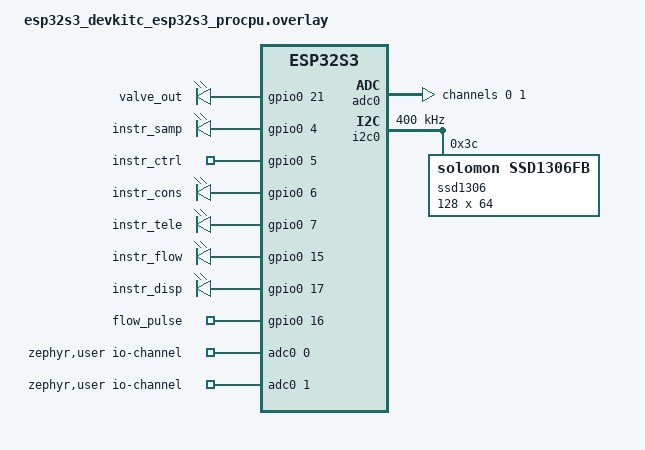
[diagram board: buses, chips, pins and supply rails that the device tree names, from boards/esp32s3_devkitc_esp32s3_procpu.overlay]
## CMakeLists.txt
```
cmake_minimum_required(VERSION 3.20.0)
find_package(Zephyr REQUIRED HINTS $ENV{ZEPHYR_BASE})
project(soilsense_superloop)

target_sources(app PRIVATE src/main.c)
target_sources_ifdef(CONFIG_LAB_FLASH_CACHE_OFF app PRIVATE src/cache_stm32_art.c)
```

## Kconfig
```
config LAB_FLASH_CACHE_OFF
	bool "Run with the STM32L4/G4 ART instruction/data cache disabled"
	depends on SOC_SERIES_STM32L4X || SOC_SERIES_STM32G4X
	help
	  Week 2's second measurement: identical binary, cache off, so the jitter
	  difference is attributable to the flash accelerator alone. Pair it with
	  CONFIG_STM32_FLASH_PREFETCH=n to drop the prefetch buffer too.

source "Kconfig.zephyr"
```

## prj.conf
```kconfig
CONFIG_GPIO=y
CONFIG_ADC=y
CONFIG_SERIAL=y
CONFIG_CONSOLE=y
CONFIG_UART_CONSOLE=y
CONFIG_MAIN_STACK_SIZE=1536
CONFIG_IDLE_STACK_SIZE=256
CONFIG_ISR_STACK_SIZE=512
CONFIG_SYSTEM_WORKQUEUE_STACK_SIZE=512
```

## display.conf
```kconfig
# Opt-in HMI: west build ... -- -DEXTRA_CONF_FILE=display.conf
CONFIG_I2C=y
CONFIG_DISPLAY=y
CONFIG_CHARACTER_FRAMEBUFFER=y
```

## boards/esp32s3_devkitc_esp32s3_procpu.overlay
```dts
/*
 * ESP32-S3 DevKitC pin map (week-3 port) — DRAFT, validate before class.
 * Only hardware description changes; the C does not.
 * No joystick on this board: tie the joystick channel's pin (GPIO1) to 3.3 V
 * (reads JOY_NONE) or wire a second pot. "Pressure" pot goes to GPIO2.
 */

#include <zephyr/dt-bindings/gpio/gpio.h>
#include <zephyr/dt-bindings/adc/adc.h>
#include <zephyr/dt-bindings/i2c/i2c.h>

/ {
	aliases {
		led0 = &valve_out;
	};

	leds {
		compatible = "gpio-leds";
		valve_out: valve_out { gpios = <&gpio0 21 GPIO_ACTIVE_HIGH>; };
	};

	instr {
		compatible = "gpio-leds";
		instr_samp: instr_samp { gpios = <&gpio0 4 GPIO_ACTIVE_HIGH>; };
		instr_ctrl: instr_ctrl { gpios = <&gpio0 5 GPIO_ACTIVE_HIGH>; };
		instr_cons: instr_cons { gpios = <&gpio0 6 GPIO_ACTIVE_HIGH>; };
		instr_tele: instr_tele { gpios = <&gpio0 7 GPIO_ACTIVE_HIGH>; };
		instr_flow: instr_flow { gpios = <&gpio0 15 GPIO_ACTIVE_HIGH>; };
		instr_disp: instr_disp { gpios = <&gpio0 17 GPIO_ACTIVE_HIGH>; };
	};

	keys {
		compatible = "gpio-keys";
		flow_pulse: flow_pulse {
			gpios = <&gpio0 16 (GPIO_ACTIVE_HIGH | GPIO_PULL_DOWN)>;
		};
	};

	zephyr,user {
		/* idx 0 = joystick (GPIO1 / ADC1_CH0), idx 1 = pot (GPIO2 / ADC1_CH1) */
		io-channels = <&adc0 0>, <&adc0 1>;
	};
};

&adc0 {
	status = "okay";
	#address-cells = <1>;
	#size-cells = <0>;

	channel@0 {
		reg = <0>;
		zephyr,gain = "ADC_GAIN_1_4";
		zephyr,reference = "ADC_REF_INTERNAL";
		zephyr,acquisition-time = <ADC_ACQ_TIME_DEFAULT>;
		zephyr,resolution = <12>;
	};
	channel@1 {
		reg = <1>;
		zephyr,gain = "ADC_GAIN_1_4";
		zephyr,reference = "ADC_REF_INTERNAL";
		zephyr,acquisition-time = <ADC_ACQ_TIME_DEFAULT>;
		zephyr,resolution = <12>;
	};
};

/* Optional SSD1306 HMI (build with -DEXTRA_CONF_FILE=display.conf).
 * Default I2C pins on the DevKitC: SDA GPIO8, SCL GPIO9. */
&i2c0 {
	status = "okay";
	clock-frequency = <I2C_BITRATE_FAST>;

	ssd1306: ssd1306@3c {
		compatible = "solomon,ssd1306fb";
		reg = <0x3c>;
		width = <128>;
		height = <64>;
		segment-offset = <0>;
		page-offset = <0>;
		display-offset = <0>;
		multiplex-ratio = <63>;
		prechargep = <0x22>;
		segment-remap;
		com-invdir;
	};
};
```

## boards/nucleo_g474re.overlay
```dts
/*
 * NUCLEO-G474RE pin map for the SoilSense superloop.
 *
 * Instrumentation uses Arduino D3-D8.
 * Flow pulse input uses Arduino D9.
 * The valve uses LD2 through the existing led0 alias.
 */

#include <zephyr/dt-bindings/gpio/gpio.h>

/ {
	instr {
		compatible = "gpio-leds";

		instr_samp: instr_samp {
			gpios = <&gpiob 3 GPIO_ACTIVE_HIGH>;  /* D3 */
		};

		instr_ctrl: instr_ctrl {
			gpios = <&gpiob 5 GPIO_ACTIVE_HIGH>;  /* D4 */
		};

		instr_cons: instr_cons {
			gpios = <&gpiob 4 GPIO_ACTIVE_HIGH>;  /* D5 */
		};

		instr_tele: instr_tele {
			gpios = <&gpiob 10 GPIO_ACTIVE_HIGH>; /* D6 */
		};

		instr_flow: instr_flow {
			gpios = <&gpioa 8 GPIO_ACTIVE_HIGH>;  /* D7 */
		};

		instr_disp: instr_disp {
			gpios = <&gpioa 9 GPIO_ACTIVE_HIGH>;  /* D8 */
		};
	};

	keys {
		compatible = "gpio-keys";

		flow_pulse: flow_pulse {
			gpios = <&gpioc 7
				 (GPIO_ACTIVE_HIGH | GPIO_PULL_DOWN)>; /* D9 */
		};
	};
};

&pwm2 {
	status = "disabled";
};

&pwm3 {
	status = "disabled";
};
```

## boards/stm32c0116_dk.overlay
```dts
/*
 * STM32C0116-DK pin map — DRAFT, validate against the DIL20 silk before class.
 * Console stays on the ST-LINK VCP (USART2, PA2/PA3) — do not reuse those pins.
 */

#include <zephyr/dt-bindings/gpio/gpio.h>
#include <zephyr/dt-bindings/adc/adc.h>
#include <zephyr/dt-bindings/i2c/i2c.h>

/ {
	instr {
		compatible = "gpio-leds";
		instr_samp: instr_samp { gpios = <&gpioa 1 GPIO_ACTIVE_HIGH>; };
		instr_ctrl: instr_ctrl { gpios = <&gpioa 4 GPIO_ACTIVE_HIGH>; };
		instr_cons: instr_cons { gpios = <&gpioa 5 GPIO_ACTIVE_HIGH>; };
		instr_tele: instr_tele { gpios = <&gpioa 6 GPIO_ACTIVE_HIGH>; };
		instr_flow: instr_flow { gpios = <&gpioa 7 GPIO_ACTIVE_HIGH>; };
		instr_disp: instr_disp { gpios = <&gpioc 14 GPIO_ACTIVE_HIGH>; };
	};

	keys {
		compatible = "gpio-keys";
		flow_pulse: flow_pulse {
			gpios = <&gpiob 7 (GPIO_ACTIVE_HIGH | GPIO_PULL_DOWN)>;
		};
	};

	zephyr,user {
		/* idx 0 = joystick ladder (PA8), idx 1 = "pressure" pot (PA0) */
		io-channels = <&adc1 8>, <&adc1 0>;
	};
};

&adc1 {
	status = "okay";
	pinctrl-0 = <&adc1_in8_pa8 &adc1_in0_pa0>;
	pinctrl-names = "default";
	vref-mv = <3300>;
	#address-cells = <1>;
	#size-cells = <0>;

	channel@8 {
		reg = <8>;
		zephyr,gain = "ADC_GAIN_1";
		zephyr,reference = "ADC_REF_INTERNAL";
		zephyr,acquisition-time = <ADC_ACQ_TIME_DEFAULT>;
		zephyr,resolution = <12>;
	};
	channel@0 {
		reg = <0>;
		zephyr,gain = "ADC_GAIN_1";
		zephyr,reference = "ADC_REF_INTERNAL";
		zephyr,acquisition-time = <ADC_ACQ_TIME_DEFAULT>;
		zephyr,resolution = <12>;
	};
};

/* Optional SSD1306 HMI (build with -DEXTRA_CONF_FILE=display.conf).
 * PA9/PA10 assumed for I2C1 — if only PB6/PB7 route out on this package,
 * the valve LED and flow_pulse must move. Validate on the DK. */
&i2c1 {
	status = "okay";
	pinctrl-0 = <&i2c1_scl_pa9 &i2c1_sda_pa10>;
	pinctrl-names = "default";
	clock-frequency = <I2C_BITRATE_FAST>;

	ssd1306: ssd1306@3c {
		compatible = "solomon,ssd1306fb";
		reg = <0x3c>;
		width = <128>;
		height = <64>;
		segment-offset = <0>;
		page-offset = <0>;
		display-offset = <0>;
		multiplex-ratio = <63>;
		prechargep = <0x22>;
		segment-remap;
		com-invdir;
	};
};
```

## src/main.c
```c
/*
 * SoilSense Control — the provided superloop.
 * One main loop + ISRs. No scheduler. You run, read, and measure this in week 2.
 *
 * The node's tasks (PROJECT_SCENARIO.md):
 *   sampling  (hard, 1 kHz)  — pressure ADC, e-stop check, valve PWM phase
 *   control   (hard, 10 ms)  — PI loop -> valve duty
 *   console   (firm)         — UART commands (help/status/joy/set/clear/calib)
 *   telemetry (soft, 1 Hz)   — CSV line over the console UART
 *   flow ISR  (hard)         — pulse counting on the flow input pin
 *
 * Every task raises its instrumentation GPIO on entry and drops it on exit:
 * the logic analyzer sees exactly who ran and for how long.
 */

#include <zephyr/kernel.h>
#include <zephyr/device.h>
#include <zephyr/drivers/gpio.h>
#include <zephyr/drivers/adc.h>
#include <zephyr/drivers/uart.h>
#include <zephyr/sys/atomic.h>
#include <zephyr/sys/util.h>
#include <zephyr/sys/printk.h>
#ifdef CONFIG_CHARACTER_FRAMEBUFFER
#include <zephyr/drivers/display.h>
#include <zephyr/display/cfb.h>
#endif
#include <stdio.h>
#include <stdlib.h>
#include <string.h>

#define SAMPLE_PERIOD_US 1000  /* sampling: 1 kHz */
#define CONTROL_EVERY    10    /* control runs every 10th sample -> 10 ms */
#define TELEMETRY_MS     1000
#define PWM_STEPS        20    /* software PWM on the valve LED: 1 kHz / 20 = 50 Hz */
#define FLOW_BATCH       100   /* pulses accumulated before the batch math runs */
#define ESTOP_MV         3000  /* overpressure threshold */
#define CALIB_ROUNDS     1000  /* `calib` command: rounds of read + settle */
#define DISPLAY_MS       500   /* HMI refresh period */
#define ESTOP_HOLD       50    /* joystick-down samples (at 50 Hz) = 1 s hold */

/* ---- Hardware (all optional: missing DT nodes degrade to a synthetic rig) -- */

#define INSTR(node) GPIO_DT_SPEC_GET_OR(DT_NODELABEL(node), gpios, {0})
static const struct gpio_dt_spec instr_samp = INSTR(instr_samp);
static const struct gpio_dt_spec instr_ctrl = INSTR(instr_ctrl);
static const struct gpio_dt_spec instr_cons = INSTR(instr_cons);
static const struct gpio_dt_spec instr_tele = INSTR(instr_tele);
static const struct gpio_dt_spec instr_flow = INSTR(instr_flow);
static const struct gpio_dt_spec instr_disp = INSTR(instr_disp);
static const struct gpio_dt_spec valve_led =
	GPIO_DT_SPEC_GET_OR(DT_ALIAS(led0), gpios, {0});
static const struct gpio_dt_spec flow_pulse =
	GPIO_DT_SPEC_GET_OR(DT_NODELABEL(flow_pulse), gpios, {0});

#if DT_NODE_EXISTS(DT_PATH(zephyr_user)) && \
	DT_NODE_HAS_PROP(DT_PATH(zephyr_user), io_channels)
#define HAS_ADC 1
static const struct adc_dt_spec adc_joy =
	ADC_DT_SPEC_GET_BY_IDX(DT_PATH(zephyr_user), 0);
static const struct adc_dt_spec adc_pressure =
	ADC_DT_SPEC_GET_BY_IDX(DT_PATH(zephyr_user), 1);
#endif

#if DT_HAS_CHOSEN(zephyr_console)
static const struct device *const console_uart =
	DEVICE_DT_GET(DT_CHOSEN(zephyr_console));
#endif

#ifdef CONFIG_CHARACTER_FRAMEBUFFER
static const struct device *const disp = DEVICE_DT_GET_ANY(solomon_ssd1306);
#endif

static inline void instr_set(const struct gpio_dt_spec *p, int v)
{
	if (p->port) {
		gpio_pin_set_dt(p, v);
	}
}

/* ---- ISR side ------------------------------------------------------------- */

/* Sampling tick: the ISR only raises a flag; the loop discovers it whenever it
 * next comes around. If the loop was busy, ticks pile up here. */
static atomic_t ticks_pending;
static atomic_t backlog_peak; /* worst backlog seen — `status` reports it */

static void tick_isr(struct k_timer *t)
{
	atomic_val_t backlog = atomic_inc(&ticks_pending) + 1;

	if (backlog > atomic_get(&backlog_peak)) {
		atomic_set(&backlog_peak, backlog);
	}
}

K_TIMER_DEFINE(tick_timer, tick_isr, NULL);

/* Flow pulses: counted in the ISR, processed in the loop in batches. */
static atomic_t flow_pulses;
static struct gpio_callback flow_cb;

static void flow_isr(const struct device *dev, struct gpio_callback *cb,
		     uint32_t pins)
{
	atomic_inc(&flow_pulses);
}

/* ---- State ---------------------------------------------------------------- */

static int setpoint_mv = 1500;
static int pressure_mv;
static int joystick_mv = -1;
static int duty_pct;          /* valve command, 0-100 */
static int integral_mv;
static bool estop;
static float flow_lpm;        /* batch math result (float on purpose: no FPU) */
static uint32_t flow_batches;

enum page { PAGE_DASH, PAGE_FLOW, PAGE_HEALTH, PAGE_COUNT };
static int page;
static bool page_dirty = true;

/* ---- Inputs: ADC when the board wires it, a synthetic plant when not ------ */

#if HAS_ADC
static int adc_read_mv(const struct adc_dt_spec *spec)
{
	int16_t raw;
	struct adc_sequence seq = { .buffer = &raw, .buffer_size = sizeof(raw) };
	int32_t mv;

	adc_sequence_init_dt(spec, &seq);
	if (adc_read_dt(spec, &seq) < 0) {
		return -1;
	}
	mv = raw;
	adc_raw_to_millivolts_dt(spec, &mv);
	return mv;
}
#endif

/* Without a pot on the pressure channel (or on native_sim) the plant is
 * simulated: pressure drifts toward what the valve commands. */
static int plant_mv(void)
{
	static int mv = 1200;

	mv += (duty_pct * 33 - mv) / 64;
	mv += (int)(k_cycle_get_32() % 7) - 3;
	return mv;
}

static int read_pressure_mv(void)
{
#if HAS_ADC
	int mv = adc_read_mv(&adc_pressure);

	if (mv >= 0) {
		return mv;
	}
#endif
	return plant_mv();
}

static int read_joystick_mv(void)
{
#if HAS_ADC
	return adc_read_mv(&adc_joy);
#else
	return -1;
#endif
}

/* ---- Tasks ---------------------------------------------------------------- */

/* Joystick bands, single-ADC resistor ladder. Calibrate with `joy`. */
enum joy { JOY_NONE, JOY_UP, JOY_DOWN, JOY_LEFT, JOY_RIGHT, JOY_SEL };

static enum joy joy_decode(int mv)
{
	if (mv < 0) return JOY_NONE;
	if (mv < 300) return JOY_SEL;
	if (mv < 900) return JOY_DOWN;
	if (mv < 1600) return JOY_RIGHT;
	if (mv < 2300) return JOY_LEFT;
	if (mv < 3000) return JOY_UP;
	return JOY_NONE;
}

/* Joystick UX, sampled at 50 Hz: left/right turn HMI pages, up/down move the
 * setpoint on the dashboard, down *held* ~1 s is the e-stop, center clears it. */
static void joystick_update(void)
{
	static enum joy prev = JOY_NONE;
	static int down_held;

	joystick_mv = read_joystick_mv();
	enum joy j = joy_decode(joystick_mv);

	if (j == JOY_DOWN) {
		if (++down_held == ESTOP_HOLD) {
			estop = true;
			page_dirty = true;
		}
	} else {
		down_held = 0;
	}

	switch (j) {
	case JOY_UP: /* held = ramp */
		if (page == PAGE_DASH) {
			setpoint_mv = CLAMP(setpoint_mv + 10, 0, 3300);
			page_dirty = true;
		}
		break;
	case JOY_DOWN: /* single step per press; keep holding for e-stop */
		if (page == PAGE_DASH && j != prev) {
			setpoint_mv = CLAMP(setpoint_mv - 10, 0, 3300);
			page_dirty = true;
		}
		break;
	case JOY_LEFT:
		if (j != prev) {
			page = (page + PAGE_COUNT - 1) % PAGE_COUNT;
			page_dirty = true;
		}
		break;
	case JOY_RIGHT:
		if (j != prev) {
			page = (page + 1) % PAGE_COUNT;
			page_dirty = true;
		}
		break;
	case JOY_SEL:
		estop = false;
		integral_mv = 0;
		page_dirty = true;
		break;
	default:
		break;
	}
	prev = j;
}

static void task_sampling(void)
{
	static int pwm_phase;
	static int joy_div;

	instr_set(&instr_samp, 1);

	pressure_mv = read_pressure_mv();

	/* e-stop condition is *detected* here, at 1 kHz... */
	if (pressure_mv > ESTOP_MV) {
		estop = true; /* ...but the valve only reacts when control runs */
	}

	/* joystick, decimated to 50 Hz */
	if (++joy_div >= 20) {
		joy_div = 0;
		joystick_update();
	}

	/* software PWM on the valve */
	pwm_phase = (pwm_phase + 1) % PWM_STEPS;
	if (valve_led.port) {
		gpio_pin_set_dt(&valve_led,
				pwm_phase < (duty_pct * PWM_STEPS) / 100);
	}

	instr_set(&instr_samp, 0);
}

static void task_control(void)
{
	instr_set(&instr_ctrl, 1);

	if (estop) {
		duty_pct = 0;
	} else {
		int error = setpoint_mv - pressure_mv;

		integral_mv += error / 8;
		integral_mv = CLAMP(integral_mv, -2000, 2000);
		duty_pct = CLAMP((error + integral_mv) / 20, 0, 100);
	}

	instr_set(&instr_ctrl, 0);
}

/* Every FLOW_BATCH pulses: convert the accumulated count to L/min and smooth
 * it. Float math, in the middle of the loop, on a core without an FPU. */
static void task_flow_batch(void)
{
	if (atomic_get(&flow_pulses) < FLOW_BATCH) {
		return;
	}
	instr_set(&instr_flow, 1);

	float pulses = (float)atomic_clear(&flow_pulses);
	float lpm = pulses / 5880.0f * 60.0f; /* YF-S401: 5880 pulses/L */

	for (int i = 0; i < 50; i++) {
		flow_lpm = flow_lpm * 0.9f + lpm * 0.1f;
	}
	flow_batches++;

	instr_set(&instr_flow, 0);
}

static void task_telemetry(void)
{
	static int64_t next_ms;
	char line[96];

	if (k_uptime_get() < next_ms) {
		return;
	}
	next_ms += TELEMETRY_MS;
	instr_set(&instr_tele, 1);

	snprintf(line, sizeof(line),
		 "t=%u p_mv=%d sp_mv=%d duty=%d flow_x100=%d estop=%d backlog=%ld",
		 (unsigned int)k_uptime_get(), pressure_mv, setpoint_mv, duty_pct,
		 (int)(flow_lpm * 100.0f), (int)estop,
		 (long)atomic_get(&backlog_peak));
	printk("%s\n", line); /* polled UART: ~7 ms of blocking at 115200 */

	instr_set(&instr_tele, 0);
}

/* ---- Display (soft "HMI"): SSD1306 pages, redrawn whole ------------------- */

#ifdef CONFIG_CHARACTER_FRAMEBUFFER
static void task_display(void)
{
	static int64_t next_ms;
	static bool ready;
	char line[24];

	if (disp == NULL) {
		return;
	}
	if (!ready) {
		if (!device_is_ready(disp) || cfb_framebuffer_init(disp) != 0) {
			return;
		}
		display_blanking_off(disp);
		ready = true;
	}
	if (!page_dirty && k_uptime_get() < next_ms) {
		return;
	}
	next_ms = k_uptime_get() + DISPLAY_MS;
	page_dirty = false;

	instr_set(&instr_disp, 1);
	cfb_framebuffer_clear(disp, false);
	switch (page) {
	case PAGE_DASH:
		snprintf(line, sizeof(line), "P %4d>%4dmV", pressure_mv,
			 setpoint_mv);
		cfb_print(disp, line, 0, 0);
		snprintf(line, sizeof(line), "duty %3d%% %s", duty_pct,
			 estop ? "ESTOP" : "");
		cfb_print(disp, line, 0, 16);
		cfb_print(disp, "1/3 dash", 0, 48);
		break;
	case PAGE_FLOW:
		snprintf(line, sizeof(line), "flow %d.%02d L/m",
			 (int)flow_lpm, (int)(flow_lpm * 100.0f) % 100);
		cfb_print(disp, line, 0, 0);
		snprintf(line, sizeof(line), "batches %u", flow_batches);
		cfb_print(disp, line, 0, 16);
		cfb_print(disp, "2/3 flow", 0, 48);
		break;
	case PAGE_HEALTH:
		snprintf(line, sizeof(line), "up %us",
			 (unsigned int)(k_uptime_get() / 1000));
		cfb_print(disp, line, 0, 0);
		snprintf(line, sizeof(line), "backlog pk %ld",
			 (long)atomic_get(&backlog_peak));
		cfb_print(disp, line, 0, 16);
		cfb_print(disp, "3/3 health", 0, 48);
		break;
	}
	/* the whole 1 KB frame goes over I2C here, char by char: blocking */
	cfb_framebuffer_finalize(disp);
	instr_set(&instr_disp, 0);
}
#else
static void task_display(void)
{
}
#endif

/* ---- Console (firm): poll chars, run a full command synchronously --------- */

static void cmd_calib(void)
{
	printk("calibrating zero-flow offset (%d rounds)...\n", CALIB_ROUNDS);
	for (int i = 0; i < CALIB_ROUNDS; i++) {
		(void)read_pressure_mv();
		k_busy_wait(400); /* sensor settling time between reads */
	}
	printk("calibration done\n");
}

static void console_handle(char *line)
{
	if (strcmp(line, "help") == 0) {
		printk("commands: help status joy set <mv> clear calib\n");
	} else if (strcmp(line, "status") == 0) {
		printk("p=%d mV sp=%d mV duty=%d%% flow_x100=%d estop=%d "
		       "batches=%u backlog_peak=%ld\n",
		       pressure_mv, setpoint_mv, duty_pct,
		       (int)(flow_lpm * 100.0f), (int)estop, flow_batches,
		       (long)atomic_get(&backlog_peak));
	} else if (strcmp(line, "joy") == 0) {
		printk("joystick raw: %d mV\n", joystick_mv);
	} else if (strncmp(line, "set ", 4) == 0) {
		setpoint_mv = CLAMP(atoi(line + 4), 0, 3300);
		printk("setpoint = %d mV\n", setpoint_mv);
	} else if (strcmp(line, "clear") == 0) {
		estop = false;
		integral_mv = 0;
		printk("e-stop cleared\n");
	} else if (strcmp(line, "calib") == 0) {
		cmd_calib();
	} else if (line[0] != '\0') {
		printk("? (try: help)\n");
	}
}

static void task_console(void)
{
	static char buf[32];
	static size_t len;
	unsigned char c;

#if DT_HAS_CHOSEN(zephyr_console)
	while (uart_poll_in(console_uart, &c) == 0) {
		instr_set(&instr_cons, 1);
		if (c == '\r' || c == '\n') {
			buf[len] = '\0';
			printk("\n");
			console_handle(buf);
			len = 0;
		} else if (len < sizeof(buf) - 1) {
			buf[len++] = c;
			printk("%c", c);
		}
		instr_set(&instr_cons, 0);
	}
#endif
}

/* ---- Bring-up + the loop -------------------------------------------------- */

static void init_hw(void)
{
	const struct gpio_dt_spec *outs[] = { &instr_samp, &instr_ctrl,
					      &instr_cons, &instr_tele,
					      &instr_flow, &instr_disp,
					      &valve_led };

	for (size_t i = 0; i < ARRAY_SIZE(outs); i++) {
		if (outs[i]->port) {
			gpio_pin_configure_dt(outs[i], GPIO_OUTPUT_INACTIVE);
		}
	}
#if HAS_ADC
	adc_channel_setup_dt(&adc_joy);
	adc_channel_setup_dt(&adc_pressure);
#endif
	if (flow_pulse.port) {
		gpio_pin_configure_dt(&flow_pulse, GPIO_INPUT);
		gpio_pin_interrupt_configure_dt(&flow_pulse,
						GPIO_INT_EDGE_TO_ACTIVE);
		gpio_init_callback(&flow_cb, flow_isr, BIT(flow_pulse.pin));
		gpio_add_callback(flow_pulse.port, &flow_cb);
	}
}

int main(void)
{
	init_hw();
	printk("SoilSense Control — superloop build (%s)\n", CONFIG_BOARD);
	printk("type 'help'\n");

	k_timer_start(&tick_timer, K_USEC(SAMPLE_PERIOD_US),
		      K_USEC(SAMPLE_PERIOD_US));

	int control_div = 0;

	while (1) {
		task_console();
		task_display();
		task_telemetry();

		if (atomic_get(&ticks_pending) > 0) {
			atomic_dec(&ticks_pending);
			task_sampling();

			if (++control_div >= CONTROL_EVERY) {
				control_div = 0;
				task_control();
			}
		}

		task_flow_batch();
	}
	return 0;
}
```

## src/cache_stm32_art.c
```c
/*
 * Zephyr enables the STM32L4/G4 ART accelerator in soc_early_init_hook().
 * This disables its instruction and data caches before the application starts.
 * Flash prefetch is disabled separately by CONFIG_STM32_FLASH_PREFETCH=n.
 */

#include <zephyr/init.h>

#if defined(CONFIG_SOC_SERIES_STM32L4X)
#include <stm32l4xx_ll_system.h>
#elif defined(CONFIG_SOC_SERIES_STM32G4X)
#include <stm32g4xx_ll_system.h>
#else
#error "Unsupported STM32 series for LAB_FLASH_CACHE_OFF"
#endif

static int lab_flash_cache_off(void)
{
	LL_FLASH_DisableInstCache();
	LL_FLASH_DisableDataCache();
	return 0;
}

SYS_INIT(lab_flash_cache_off, PRE_KERNEL_1, 0);
```
